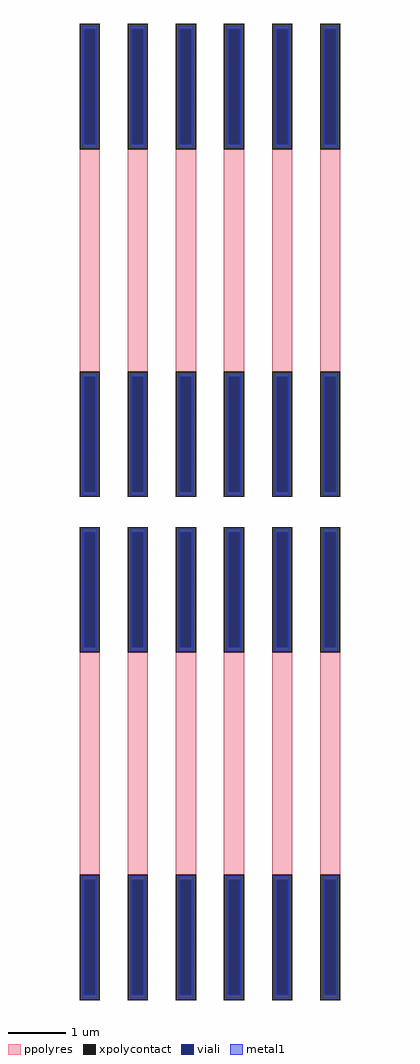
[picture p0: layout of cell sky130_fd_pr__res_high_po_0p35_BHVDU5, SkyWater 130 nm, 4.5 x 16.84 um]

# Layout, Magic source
magic
tech sky130A
magscale 1 2
<< xpolycontact >>
rect -450 1252 -380 1684
rect -450 52 -380 484
rect -284 1252 -214 1684
rect -284 52 -214 484
rect -118 1252 -48 1684
rect -118 52 -48 484
rect 48 1252 118 1684
rect 48 52 118 484
rect 214 1252 284 1684
rect 214 52 284 484
rect 380 1252 450 1684
rect 380 52 450 484
rect -450 -484 -380 -52
rect -450 -1684 -380 -1252
rect -284 -484 -214 -52
rect -284 -1684 -214 -1252
rect -118 -484 -48 -52
rect -118 -1684 -48 -1252
rect 48 -484 118 -52
rect 48 -1684 118 -1252
rect 214 -484 284 -52
rect 214 -1684 284 -1252
rect 380 -484 450 -52
rect 380 -1684 450 -1252
<< ppolyres >>
rect -450 484 -380 1252
rect -284 484 -214 1252
rect -118 484 -48 1252
rect 48 484 118 1252
rect 214 484 284 1252
rect 380 484 450 1252
rect -450 -1252 -380 -484
rect -284 -1252 -214 -484
rect -118 -1252 -48 -484
rect 48 -1252 118 -484
rect 214 -1252 284 -484
rect 380 -1252 450 -484
<< viali >>
rect -434 1269 -396 1666
rect -268 1269 -230 1666
rect -102 1269 -64 1666
rect 64 1269 102 1666
rect 230 1269 268 1666
rect 396 1269 434 1666
rect -434 70 -396 467
rect -268 70 -230 467
rect -102 70 -64 467
rect 64 70 102 467
rect 230 70 268 467
rect 396 70 434 467
rect -434 -467 -396 -70
rect -268 -467 -230 -70
rect -102 -467 -64 -70
rect 64 -467 102 -70
rect 230 -467 268 -70
rect 396 -467 434 -70
rect -434 -1666 -396 -1269
rect -268 -1666 -230 -1269
rect -102 -1666 -64 -1269
rect 64 -1666 102 -1269
rect 230 -1666 268 -1269
rect 396 -1666 434 -1269
<< metal1 >>
rect -440 1666 -390 1678
rect -440 1269 -434 1666
rect -396 1269 -390 1666
rect -440 1257 -390 1269
rect -274 1666 -224 1678
rect -274 1269 -268 1666
rect -230 1269 -224 1666
rect -274 1257 -224 1269
rect -108 1666 -58 1678
rect -108 1269 -102 1666
rect -64 1269 -58 1666
rect -108 1257 -58 1269
rect 58 1666 108 1678
rect 58 1269 64 1666
rect 102 1269 108 1666
rect 58 1257 108 1269
rect 224 1666 274 1678
rect 224 1269 230 1666
rect 268 1269 274 1666
rect 224 1257 274 1269
rect 390 1666 440 1678
rect 390 1269 396 1666
rect 434 1269 440 1666
rect 390 1257 440 1269
rect -440 467 -390 479
rect -440 70 -434 467
rect -396 70 -390 467
rect -440 58 -390 70
rect -274 467 -224 479
rect -274 70 -268 467
rect -230 70 -224 467
rect -274 58 -224 70
rect -108 467 -58 479
rect -108 70 -102 467
rect -64 70 -58 467
rect -108 58 -58 70
rect 58 467 108 479
rect 58 70 64 467
rect 102 70 108 467
rect 58 58 108 70
rect 224 467 274 479
rect 224 70 230 467
rect 268 70 274 467
rect 224 58 274 70
rect 390 467 440 479
rect 390 70 396 467
rect 434 70 440 467
rect 390 58 440 70
rect -440 -70 -390 -58
rect -440 -467 -434 -70
rect -396 -467 -390 -70
rect -440 -479 -390 -467
rect -274 -70 -224 -58
rect -274 -467 -268 -70
rect -230 -467 -224 -70
rect -274 -479 -224 -467
rect -108 -70 -58 -58
rect -108 -467 -102 -70
rect -64 -467 -58 -70
rect -108 -479 -58 -467
rect 58 -70 108 -58
rect 58 -467 64 -70
rect 102 -467 108 -70
rect 58 -479 108 -467
rect 224 -70 274 -58
rect 224 -467 230 -70
rect 268 -467 274 -70
rect 224 -479 274 -467
rect 390 -70 440 -58
rect 390 -467 396 -70
rect 434 -467 440 -70
rect 390 -479 440 -467
rect -440 -1269 -390 -1257
rect -440 -1666 -434 -1269
rect -396 -1666 -390 -1269
rect -440 -1678 -390 -1666
rect -274 -1269 -224 -1257
rect -274 -1666 -268 -1269
rect -230 -1666 -224 -1269
rect -274 -1678 -224 -1666
rect -108 -1269 -58 -1257
rect -108 -1666 -102 -1269
rect -64 -1666 -58 -1269
rect -108 -1678 -58 -1666
rect 58 -1269 108 -1257
rect 58 -1666 64 -1269
rect 102 -1666 108 -1269
rect 58 -1678 108 -1666
rect 224 -1269 274 -1257
rect 224 -1666 230 -1269
rect 268 -1666 274 -1269
rect 224 -1678 274 -1666
rect 390 -1269 440 -1257
rect 390 -1666 396 -1269
rect 434 -1666 440 -1269
rect 390 -1678 440 -1666
<< properties >>
string gencell sky130_fd_pr__res_high_po_0p35
string library sky130
string parameters w 0.350 l 4 m 2 nx 6 wmin 0.350 lmin 0.50 rho 319.8 val 4.768k dummy 0 dw 0.0 term 194.82 sterm 0.0 caplen 0 guard 0 glc 1 grc 1 gtc 1 gbc 1 compatible {sky130_fd_pr__res_high_po_0p35  sky130_fd_pr__res_high_po_0p69 sky130_fd_pr__res_high_po_1p41  sky130_fd_pr__res_high_po_2p85 sky130_fd_pr__res_high_po_5p73} snake 0 full_metal 1 wmax 0.350 vias 1 n_guard 0 hv_guard 0 viagb 0 viagt 0 viagl 0 viagr 0
<< end >>
